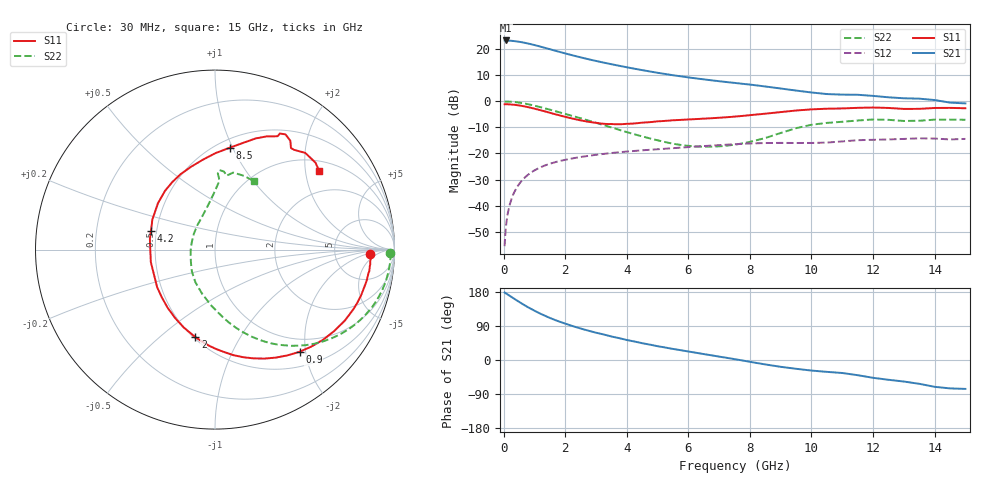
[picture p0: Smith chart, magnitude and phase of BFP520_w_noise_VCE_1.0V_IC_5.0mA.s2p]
! Infineon Technologies  Discrete & RF Semiconductors
! BFP520
! VCE =  1.0 V,  IC =  5.0 mA
! Common Emitter S-Parameters:  Oct 2015
# GHz  S  MA  R  50
!  f  S11  S21  S12  S22
! GHz  MAG  ANG  MAG  ANG  MAG  ANG  MAG  ANG
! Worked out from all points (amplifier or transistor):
!   109 points, 30 MHz to 15 GHz, reference 50 ohm
!   highest |S21| = 23.1 dB at 70 MHz (marker M1)
!   |S21| within 3 dB of that: start of sweep to 1.395 GHz
!   unconditionally stable (mu >= 1): 4.047 GHz to end of sweep
!   at 450 MHz: K = 0.13, MSG = 27.6 dB, |S12| = -32.6 dB
!   at 4 GHz: K = 0.99, MSG = 16.1 dB, |S12| = -19.3 dB
!   at 15 GHz: K = 1.40, MAG = 3.0 dB, |S12| = -14.5 dB
!   lowest NFmin = 1.18 dB at 900 MHz
!   S11 on the Smith chart (normalised r, x): 30 MHz: 13, -3; 900 MHz: 0.75, -1.89; 2 GHz: 0.51, -0.66; 4.2 GHz: 0.47, +0.11; 8.5 GHz: 0.58, +0.97; 15 GHz: 1.28, +2.38
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0.03  0.8666 -1.7  14.3 178.2  0.0017 90.6  0.9767 -1.1
0.07  0.8672 -4.2  14.31 175.7  0.0037 89.4  0.9785 -2.7
0.25  0.8567 -14.6  14.1 166.5  0.0133 82.5  0.9689 -10.0
0.5  0.8243 -28.7  13.5 153.5  0.026 75.2  0.933 -19.9
0.7  0.7844 -39.8  12.85 143.5  0.0353 69.6  0.8908 -27.3
0.9  0.7392 -50.4  12.09 134.5  0.0437 64.5  0.8414 -34.2
1.1  0.6907 -60.6  11.29 126.0  0.0511 59.8  0.7887 -40.5
1.3  0.6434 -70.4  10.5 118.3  0.0577 55.6  0.7357 -46.3
1.6  0.5735 -84.8  9.382 107.8  0.0661 50.3  0.6582 -54.1
2  0.4994 -102.7  8.101 95.9  0.0756 44.4  0.5672 -63.1
2.2  0.4679 -111.8  7.541 90.5  0.0797 41.9  0.526 -67.2
2.6  0.4171 -129.5  6.592 80.7  0.0873 37.4  0.4506 -75.0
3  0.3844 -147.0  5.818 72.0  0.0941 33.4  0.3838 -82.8
3.5  0.3643 -169.0  5.038 62.0  0.1019 28.6  0.3133 -93.7
4.2  0.3716 164.0  4.187 49.6  0.111 22.5  0.2362 -111.7
5.1  0.4125 138.7  3.384 35.0  0.1213 15.8  0.1725 -138.7
6.3  0.454 117.6  2.679 18.4  0.1357 7.3  0.1356 -176.9
7.6  0.51 96.3  2.184 0.9  0.1507 -2.7  0.15 139.5
8.5  0.5735 81.8  1.894 -11.7  0.158 -10.8  0.1967 111.5
10.5  0.7133 62.2  1.358 -31.3  0.1611 -22.4  0.3827 86.4
13  0.7065 53.2  1.128 -56.8  0.1891 -41.0  0.4166 80.9
15  0.7275 37.0  0.901 -76.3  0.1894 -56.1  0.4386 60.6
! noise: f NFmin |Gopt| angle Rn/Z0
0.45  1.2  0.47  3  0.32
0.9  1.18  0.45  10  0.34
1.9  1.41  0.39  21  0.29
2.4  1.45  0.35  34  0.28
3.5  1.4  0.32  56  0.26
